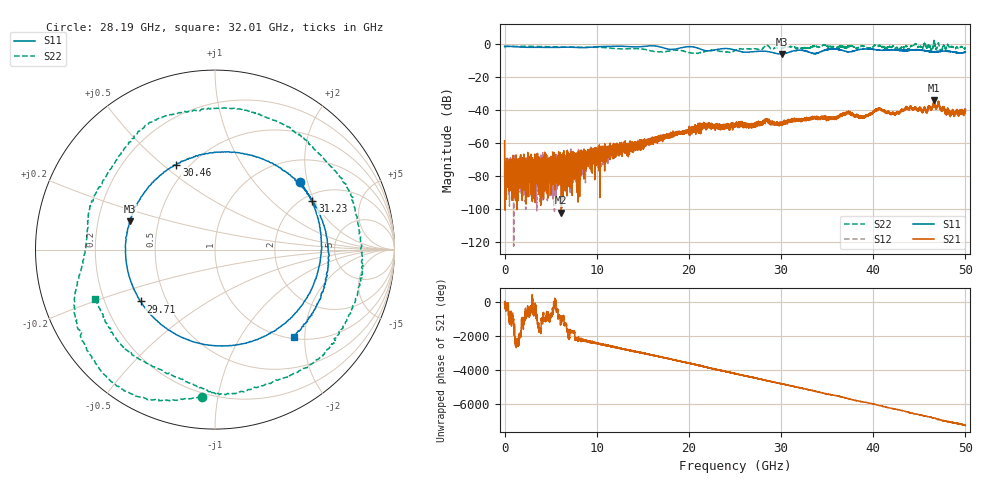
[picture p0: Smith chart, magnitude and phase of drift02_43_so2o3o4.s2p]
!Created with skrf (http://scikit-rf.org).
# Hz S RI R 50.0
!freq ReS11 ImS11 ReS21 ImS21 ReS12 ImS12 ReS22 ImS22
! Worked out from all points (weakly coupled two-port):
!   10001 points, 300 kHz to 50 GHz, reference 50 ohm
!   highest |S21| = -34.14 dB at 46.62 GHz (marker M1); lowest = -102.3 dB at 6.155 GHz (marker M2)
!   lowest |S11| = -6.1 dB at 30.11 GHz (marker M3), VSWR 2.98, Z = 17.2 + j7.22 ohm
!   |S11| at or under -10 dB: nowhere
!   |S22| runs from -5.7 to 2.2 dB; largest |S21 - S12| = 0.0028
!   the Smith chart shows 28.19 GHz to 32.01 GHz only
!   S11 on the Smith chart (normalised r, x): 28.19 GHz: 1.50, +1.80; 29.71 GHz: 0.36, -0.28; 30.46 GHz: 0.43, +0.56; 31.23 GHz: 2.23, +1.92; 32.01 GHz: 1.04, -1.76
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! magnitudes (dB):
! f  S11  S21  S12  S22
! 300 kHz  -1.3  -58.6  -80.8  -2.1
! 260.3 MHz  -1.4  -76.4  -77.2  -1.4
! 6.155 GHz  -2.0  -102.3  -76.8  -1.7
! 8.335 GHz  -2.2  -70.5  -69.5  -1.9
! 16.67 GHz  -1.5  -56.4  -57.3  -4.7
! 21.54 GHz  -3.6  -48.2  -50.2  -4.6
! 25 GHz  -3.7  -49.1  -49.0  -3.9
! 28.19 GHz  -4.3  -47.2  -46.7  -1.7
! 29.71 GHz  -5.9  -48.2  -48.4  -2.1
! 30.11 GHz  -6.1  -48.3  -47.5  -2.0
! 30.46 GHz  -5.7  -48.4  -47.1  -1.8
! 31.23 GHz  -4.3  -46.4  -46.2  -1.8
! 32.01 GHz  -3.7  -45.8  -46.2  -2.8
! 33.34 GHz  -5.5  -44.3  -44.0  -1.5
! 35.61 GHz  -3.0  -44.6  -45.0  -1.6
! 37.28 GHz  -4.7  -41.3  -40.9  -1.4
! 38.85 GHz  -3.0  -44.4  -43.9  -1.3
! 40.62 GHz  -3.6  -39.3  -39.1  -0.9
! 41.67 GHz  -3.6  -41.1  -41.0  -1.9
! 46.62 GHz  -4.6  -34.1  -34.8  2.0
! 48.12 GHz  -4.4  -40.4  -40.4  -0.6
! 50 GHz  -4.9  -40.7  -40.0  -2.6
